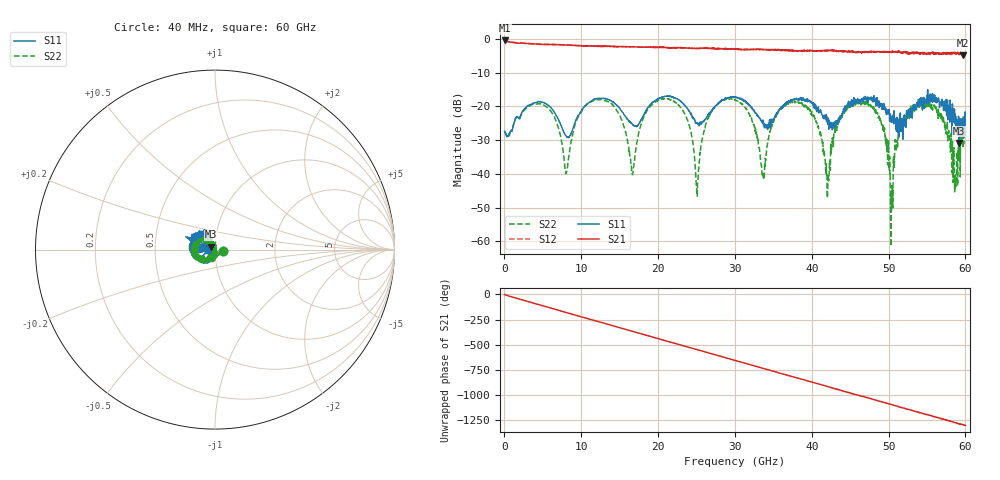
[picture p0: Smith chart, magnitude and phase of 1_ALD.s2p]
! File created by 'SoftPlot +Plus+ Measurement Management Software'
! SoftPlot +Plus+ Measurement Management Software
! Start 40.000000 MHz  Stop 60.000000 GHz  Points 1601
# MHZ S RI R 50
! S-Parameter data, F S11 S21 S12 S22
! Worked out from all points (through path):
!   1601 points, 40 MHz to 60 GHz, reference 50 ohm
!   highest |S21| = -0.43 dB at 40 MHz (marker M1); lowest = -4.8 dB at 59.66 GHz (marker M2)
!   group delay of S21, straight-line fit = 60 ps
!   lowest |S11| = -30.9 dB at 59.18 GHz (marker M3), VSWR 1.06, Z = 47.6 + j1.48 ohm
!   |S11| at or under -10 dB: start of sweep to end of sweep
!   |S22| runs from -61.4 to -17.6 dB; largest |S21 - S12| = 0.066
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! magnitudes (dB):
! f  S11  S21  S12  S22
! 40 MHz  -27.4  -0.4  -0.4  -27.2
! 5.212 GHz  -18.9  -1.6  -1.6  -19.7
! 8.06 GHz  -28.8  -1.8  -1.8  -39.7
! 10.05 GHz  -21.3  -2.0  -2.0  -21.5
! 14.09 GHz  -18.6  -2.2  -2.2  -19.4
! 16.68 GHz  -25.3  -2.3  -2.3  -40.2
! 20.05 GHz  -17.7  -2.5  -2.4  -18.1
! 23.54 GHz  -19.8  -2.6  -2.7  -22.4
! 25.11 GHz  -25.1  -2.8  -2.8  -46.6
! 26.68 GHz  -21.9  -2.8  -2.8  -22.5
! 30.02 GHz  -17.1  -2.9  -3.0  -17.9
! 33.62 GHz  -24.8  -3.1  -3.1  -40.3
! 35.83 GHz  -20.8  -3.2  -3.2  -21.1
! 40.03 GHz  -19.0  -3.4  -3.6  -21.6
! 42.05 GHz  -23.1  -3.3  -3.5  -47.2
! 45.57 GHz  -18.7  -3.9  -3.9  -19.5
! 48.68 GHz  -19.1  -3.7  -3.8  -23.5
! 50.03 GHz  -21.3  -4.0  -4.0  -37.9
! 53.97 GHz  -19.6  -4.4  -4.0  -18.8
! 59.18 GHz  -30.9  -4.6  -4.1  -29.1
! 59.66 GHz  -26.2  -4.8  -4.1  -30.6
! 60 GHz  -28.7  -4.3  -4.3  -26.7
